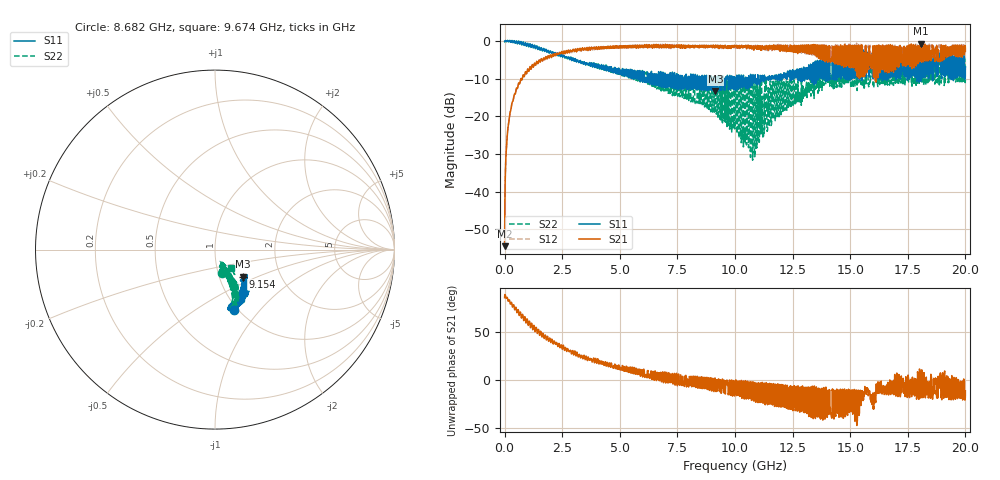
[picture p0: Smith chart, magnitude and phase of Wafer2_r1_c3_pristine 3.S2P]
!  2-Port S-parameters saved by WinCal
! VAR MeasName=S-Parameters (CALIBRATED_DATA) read from VNA (P5004A)
! VAR MeasDate=24/04/2024 15:23:36
! VAR NAME=Wafer2_r1_c3_pristine 3
! VAR FILENAME=Wafer2_r1_c3_pristine 3.S2P
! VAR DATE=24/04/2024 15:23:36
! VAR PHYS_PORTS=1,2
! VAR ObjTypeName=DATASET
! VAR IndexType=Frequency
# Hz S MA R 50
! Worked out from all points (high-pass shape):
!   4999 points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, 4.01 MHz to 20 GHz, reference 50 ohm
!   highest |S21| = -0.72 dB at 18.06 GHz (marker M1); lowest = -54.5 dB at 4.01 MHz (marker M2)
!   |S21| within 3 dB of the highest: 2.235 GHz to 13.54 GHz (11.3 GHz wide, 143 % of centre); 19.36 GHz to 19.58 GHz (211.6 MHz wide, 1.09 % of centre)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
!   lowest |S11| = -13.4 dB at 9.154 GHz (marker M3), VSWR 1.55, Z = 64.5 - j20.4 ohm
!   |S11| at or under -10 dB: 7.731 GHz to 7.815 GHz (83.75 MHz wide, 1.08 % of centre); 7.911 GHz to 7.997 GHz (86.65 MHz wide, 1.09 % of centre); 10.88 GHz to 10.98 GHz (104.6 MHz wide, 0.956 % of centre)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
!   |S22| runs from -31.7 to 0.1 dB; largest |S21 - S12| = 0.62
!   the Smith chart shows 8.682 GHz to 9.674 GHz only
!   S11 on the Smith chart (normalised r, x): 8.682 GHz: 0.96, -0.73; 9.154 GHz: 1.29, -0.41; 9.674 GHz: 0.96, -0.73
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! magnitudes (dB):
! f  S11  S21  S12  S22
! 4.01 MHz  -0.1  -54.5  -54.4  -0.1
! 112 MHz  0.0  -25.7  -25.7  0.0
! 180 MHz  -0.2  -21.9  -21.8  -0.2
! 624.1 MHz  -0.2  -11.1  -11.1  -0.2
! 1.544 GHz  -2.4  -5.6  -5.6  -2.4
! 3.341 GHz  -5.8  -2.2  -2.2  -5.8
! 6.673 GHz  -11.5  -0.9  -1.3  -12.2
! 8.682 GHz  -9.1  -1.4  -1.2  -17.5
! 9.154 GHz  -13.4  -1.1  -1.3  -9.7
! 9.674 GHz  -9.2  -1.4  -1.7  -17.5
! 10 GHz  -9.7  -1.4  -1.5  -22.5
! 10.35 GHz  -9.7  -1.4  -1.3  -25.6
! 10.56 GHz  -12.8  -1.3  -1.1  -9.9
! 10.85 GHz  -9.9  -1.4  -1.5  -30.0
! 11.61 GHz  -9.6  -1.5  -2.4  -15.4
! 13.33 GHz  -11.1  -1.1  -3.1  -12.2
! 15.41 GHz  -9.7  -1.6  -9.5  -4.7
! 15.87 GHz  -3.7  -6.2  -1.2  -10.9
! 16.14 GHz  -5.3  -4.5  -10.3  -4.3
! 16.67 GHz  -9.9  -1.3  -4.1  -8.9
! 18.06 GHz  -10.7  -0.7  -4.7  -3.7
! 20 GHz  -6.8  -2.7  -1.3  -10.4
